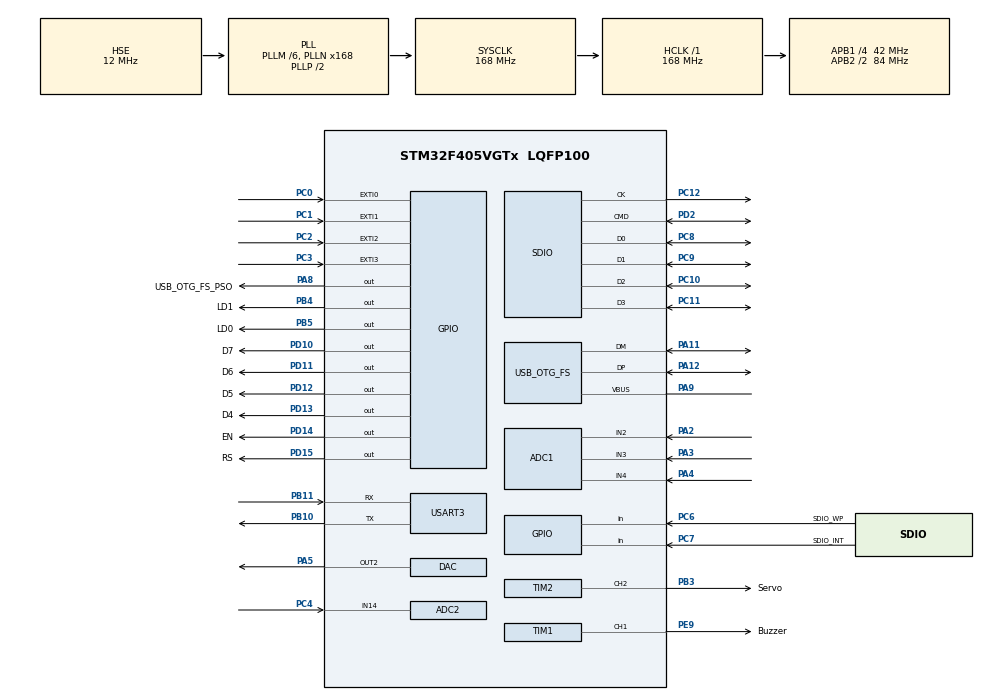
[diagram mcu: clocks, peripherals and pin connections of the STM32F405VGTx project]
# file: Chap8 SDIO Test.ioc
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ADC1.Channel-0\#ChannelRegularConversion=ADC_CHANNEL_2
ADC1.Channel-1\#ChannelRegularConversion=ADC_CHANNEL_3
ADC1.Channel-2\#ChannelRegularConversion=ADC_CHANNEL_4
ADC1.ClockPrescaler=ADC_CLOCK_SYNC_PCLK_DIV4
ADC1.ContinuousConvMode=ENABLE
ADC1.DMAContinuousRequests=ENABLE
ADC1.DiscontinuousConvMode=DISABLE
ADC1.EnableAnalogWatchDog=false
ADC1.InjNumberOfConversion=0
ADC1.NbrOfConversion=3
ADC1.NbrOfConversionFlag=1
ADC1.Rank-0\#ChannelRegularConversion=1
ADC1.Rank-1\#ChannelRegularConversion=2
ADC1.Rank-2\#ChannelRegularConversion=3
ADC1.SamplingTime-0\#ChannelRegularConversion=ADC_SAMPLETIME_84CYCLES
ADC1.SamplingTime-1\#ChannelRegularConversion=ADC_SAMPLETIME_84CYCLES
ADC1.SamplingTime-2\#ChannelRegularConversion=ADC_SAMPLETIME_84CYCLES
ADC1.ScanConvMode=ENABLE
ADC1.master=1
ADC2.Channel-1\#ChannelRegularConversion=ADC_CHANNEL_14
ADC2.ClockPrescaler=ADC_CLOCK_SYNC_PCLK_DIV4
ADC2.ContinuousConvMode=ENABLE
ADC2.DMAContinuousRequests=ENABLE
ADC2.NbrOfConversionFlag=1
ADC2.Rank-1\#ChannelRegularConversion=1
ADC2.SamplingTime-1\#ChannelRegularConversion=ADC_SAMPLETIME_84CYCLES
ADC2.ScanConvMode=DISABLE
Dma.ADC1.0.Direction=DMA_PERIPH_TO_MEMORY
Dma.ADC1.0.FIFOMode=DMA_FIFOMODE_DISABLE
Dma.ADC1.0.Instance=DMA2_Stream0
Dma.ADC1.0.MemDataAlignment=DMA_MDATAALIGN_HALFWORD
Dma.ADC1.0.MemInc=DMA_MINC_ENABLE
Dma.ADC1.0.Mode=DMA_CIRCULAR
Dma.ADC1.0.PeriphDataAlignment=DMA_PDATAALIGN_HALFWORD
Dma.ADC1.0.PeriphInc=DMA_PINC_DISABLE
Dma.ADC1.0.Priority=DMA_PRIORITY_LOW
Dma.ADC2.1.Direction=DMA_PERIPH_TO_MEMORY
Dma.ADC2.1.FIFOMode=DMA_FIFOMODE_DISABLE
Dma.ADC2.1.Instance=DMA2_Stream2
Dma.ADC2.1.MemDataAlignment=DMA_MDATAALIGN_HALFWORD
Dma.ADC2.1.MemInc=DMA_MINC_DISABLE
Dma.ADC2.1.Mode=DMA_CIRCULAR
Dma.ADC2.1.PeriphDataAlignment=DMA_PDATAALIGN_HALFWORD
Dma.ADC2.1.PeriphInc=DMA_PINC_DISABLE
Dma.ADC2.1.Priority=DMA_PRIORITY_LOW
Dma.Request0=ADC1
Dma.Request1=ADC2
Dma.Request2=SDIO_RX
Dma.Request3=SDIO_TX
Dma.SDIO_RX.2.Direction=DMA_PERIPH_TO_MEMORY
Dma.SDIO_RX.2.FIFOMode=DMA_FIFOMODE_ENABLE
Dma.SDIO_RX.2.FIFOThreshold=DMA_FIFO_THRESHOLD_FULL
Dma.SDIO_RX.2.Instance=DMA2_Stream3
Dma.SDIO_RX.2.MemBurst=DMA_MBURST_INC4
Dma.SDIO_RX.2.MemDataAlignment=DMA_MDATAALIGN_WORD
Dma.SDIO_RX.2.MemInc=DMA_MINC_ENABLE
Dma.SDIO_RX.2.Mode=DMA_PFCTRL
Dma.SDIO_RX.2.PeriphBurst=DMA_PBURST_INC4
Dma.SDIO_RX.2.PeriphDataAlignment=DMA_PDATAALIGN_WORD
Dma.SDIO_RX.2.PeriphInc=DMA_PINC_DISABLE
Dma.SDIO_RX.2.Priority=DMA_PRIORITY_LOW
Dma.SDIO_TX.3.Direction=DMA_MEMORY_TO_PERIPH
Dma.SDIO_TX.3.FIFOMode=DMA_FIFOMODE_ENABLE
Dma.SDIO_TX.3.FIFOThreshold=DMA_FIFO_THRESHOLD_FULL
Dma.SDIO_TX.3.Instance=DMA2_Stream6
Dma.SDIO_TX.3.MemBurst=DMA_MBURST_INC4
Dma.SDIO_TX.3.MemDataAlignment=DMA_MDATAALIGN_WORD
Dma.SDIO_TX.3.MemInc=DMA_MINC_ENABLE
Dma.SDIO_TX.3.Mode=DMA_PFCTRL
Dma.SDIO_TX.3.PeriphBurst=DMA_PBURST_INC4
Dma.SDIO_TX.3.PeriphDataAlignment=DMA_PDATAALIGN_WORD
Dma.SDIO_TX.3.PeriphInc=DMA_PINC_DISABLE
Dma.SDIO_TX.3.Priority=DMA_PRIORITY_LOW
FATFS.USE_DMA_CODE_SD=1
FATFS._MAX_SS=4096
FATFS._USE_LFN=1
Mcu.Family=STM32F4
Mcu.Name=STM32F405VGTx
Mcu.Package=LQFP100
NVIC.DMA2_Stream0_IRQn=true\:0\:0\:false\:false\:true\:false\:true\:true
NVIC.DMA2_Stream2_IRQn=true\:0\:0\:false\:false\:true\:false\:true\:true
NVIC.DMA2_Stream3_IRQn=true\:0\:0\:false\:false\:true\:false\:true\:true
NVIC.DMA2_Stream6_IRQn=true\:0\:0\:false\:false\:true\:false\:true\:true
NVIC.EXTI0_IRQn=true\:0\:0\:false\:true\:true\:1\:true\:true\:true
NVIC.EXTI1_IRQn=true\:0\:0\:false\:true\:true\:2\:true\:true\:true
NVIC.EXTI2_IRQn=true\:0\:0\:false\:true\:true\:3\:true\:true\:true
NVIC.EXTI3_IRQn=true\:0\:0\:false\:true\:true\:7\:true\:true\:true
NVIC.OTG_FS_IRQn=true\:0\:0\:false\:false\:true\:false\:true\:true
NVIC.PriorityGroup=NVIC_PRIORITYGROUP_4
NVIC.SDIO_IRQn=true\:0\:0\:false\:false\:true\:true\:true\:true
NVIC.TIM6_DAC_IRQn=true\:0\:0\:false\:true\:true\:5\:true\:true\:true
NVIC.TIM7_IRQn=true\:0\:0\:false\:true\:true\:6\:true\:true\:true
NVIC.USART3_IRQn=true\:0\:0\:false\:true\:true\:4\:true\:true\:true
PA11.Mode=Host_Only
PA11.Signal=USB_OTG_FS_DM
PA12.Mode=Host_Only
PA12.Signal=USB_OTG_FS_DP
PA2.Signal=ADCx_IN2
PA3.Signal=ADCx_IN3
PA4.Signal=ADCx_IN4
PA5.Signal=COMP_DAC2_group
PA8.GPIO_Label=USB_OTG_FS_PSO
PA8.Signal=GPIO_Output
PA9.Mode=Activate_VBUS
PA9.Signal=USB_OTG_FS_VBUS
PB10.Mode=Asynchronous
PB10.Signal=USART3_TX
PB11.Mode=Asynchronous
PB11.Signal=USART3_RX
PB3.GPIO_Label=Servo
PB3.Signal=S_TIM2_CH2
PB4.GPIO_Label=LD1
PB4.Signal=GPIO_Output
PB5.GPIO_Label=LD0
PB5.Signal=GPIO_Output
PC0.GPIO_ModeDefaultEXTI=GPIO_MODE_IT_FALLING
PC0.Signal=GPXTI0
PC1.GPIO_ModeDefaultEXTI=GPIO_MODE_IT_FALLING
PC1.Signal=GPXTI1
PC10.Mode=SD_4_bits_Wide_bus
PC10.Signal=SDIO_D2
PC11.Mode=SD_4_bits_Wide_bus
PC11.Signal=SDIO_D3
PC12.Mode=SD_4_bits_Wide_bus
PC12.Signal=SDIO_CK
PC2.GPIO_ModeDefaultEXTI=GPIO_MODE_IT_FALLING
PC2.Signal=GPXTI2
PC3.Signal=GPXTI3
PC4.Signal=ADCx_IN14
PC6.GPIO_Label=SDIO_WP
PC6.Signal=GPIO_Input
PC7.GPIO_Label=SDIO_INT
PC7.Signal=GPIO_Input
PC8.Mode=SD_4_bits_Wide_bus
PC8.Signal=SDIO_D0
PC9.Mode=SD_4_bits_Wide_bus
PC9.Signal=SDIO_D1
PD10.GPIO_Label=D7
PD10.Signal=GPIO_Output
PD11.GPIO_Label=D6
PD11.Signal=GPIO_Output
PD12.GPIO_Label=D5
PD12.Signal=GPIO_Output
PD13.GPIO_Label=D4
PD13.Signal=GPIO_Output
PD14.GPIO_Label=EN
PD14.Signal=GPIO_Output
PD15.GPIO_Label=RS
PD15.Signal=GPIO_Output
PD2.Mode=SD_4_bits_Wide_bus
PD2.Signal=SDIO_CMD
PE9.GPIO_Label=Buzzer
PE9.Signal=S_TIM1_CH1
PH0-OSC_IN.Mode=HSE-External-Oscillator
PH0-OSC_IN.Signal=RCC_OSC_IN
PH1-OSC_OUT.Mode=HSE-External-Oscillator
PH1-OSC_OUT.Signal=RCC_OSC_OUT
ProjectManager.HeapSize=0x200
ProjectManager.StackSize=0x400
ProjectManager.TargetToolchain=STM32CubeIDE
RCC.48MHZClocksFreq_Value=48000000
RCC.AHBFreq_Value=168000000
RCC.APB1CLKDivider=RCC_HCLK_DIV4
RCC.APB1Freq_Value=42000000
RCC.APB1TimFreq_Value=84000000
RCC.APB2CLKDivider=RCC_HCLK_DIV2
RCC.APB2Freq_Value=84000000
RCC.APB2TimFreq_Value=168000000
RCC.CortexFreq_Value=168000000
RCC.HCLKFreq_Value=168000000
RCC.HSE_VALUE=12000000
RCC.HSI_VALUE=16000000
RCC.LSE_VALUE=32768
RCC.PLLM=6
RCC.PLLN=168
RCC.PLLQ=7
RCC.SYSCLKFreq_VALUE=168000000
RCC.SYSCLKSource=RCC_SYSCLKSOURCE_PLLCLK
RCC.VCOOutputFreq_Value=336000000
SH.ADCx_IN14.0=ADC2_IN14,IN14
SH.ADCx_IN2.0=ADC1_IN2,IN2
SH.ADCx_IN3.0=ADC1_IN3,IN3
SH.ADCx_IN4.0=ADC1_IN4,IN4
SH.COMP_DAC2_group.0=DAC_OUT2,DAC_OUT2
SH.S_TIM1_CH1.0=TIM1_CH1,PWM Generation1 CH1
SH.S_TIM2_CH2.0=TIM2_CH2,PWM Generation2 CH2
TIM1.Channel-PWM\ Generation1\ CH1=TIM_CHANNEL_1
TIM1.Period=999
TIM1.Prescaler=167
TIM1.Pulse-PWM\ Generation1\ CH1=500
TIM2.Channel-PWM\ Generation2\ CH2=TIM_CHANNEL_2
TIM2.Period=10000-1
TIM2.Prescaler=168-1
TIM2.Pulse-PWM\ Generation2\ CH2=100
TIM4.Prescaler=83
TIM6.AutoReloadPreload=TIM_AUTORELOAD_PRELOAD_DISABLE
TIM6.Period=10000-1
TIM6.Prescaler=8400-1
TIM7.Period=9999
TIM7.Prescaler=4200-1
USART3.VirtualMode=VM_ASYNC
USB_HOST.USBH_HandleTypeDef-MSC_FS=hUsbHostFS
USB_HOST.VirtualModeFS=Msc
USB_OTG_FS.Sof_enable=DISABLE
USB_OTG_FS.VirtualMode=Host_Only
USB_OTG_FS.phy_itface=HCD_PHY_EMBEDDED
VP_FATFS_VS_SDIO.Mode=SDIO
VP_FATFS_VS_USB.Mode=USB
VP_TIM1_VS_ClockSourceINT.Mode=Internal
VP_TIM2_VS_ClockSourceINT.Mode=Internal
VP_TIM4_VS_ClockSourceINT.Mode=Internal
VP_TIM6_VS_ClockSourceINT.Mode=Enable_Timer
VP_TIM7_VS_ClockSourceINT.Mode=Enable_Timer
VP_USB_HOST_VS_USB_HOST_MSC_FS.Mode=MSC_FS
board=custom

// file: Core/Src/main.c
/* USER CODE BEGIN Header */
/**
  ******************************************************************************
  * @file           : main.c
  * @brief          : Main program body
  ******************************************************************************
  * @attention
  *
  * Copyright (c) 2025 STMicroelectronics.
  * All rights reserved.
  *
  * This software is licensed under terms that can be found in the LICENSE file
  * in the root directory of this software component.
  * If no LICENSE file comes with this software, it is provided AS-IS.
  *
  ******************************************************************************
  */
/* USER CODE END Header */
#include "main.h"
#include "adc.h"
#include "dac.h"
#include "dma.h"
#include "fatfs.h"
#include "sdio.h"
#include "tim.h"
#include "usart.h"
#include "usb_host.h"
#include "gpio.h"

/* USER CODE BEGIN Includes */
#include "stdio.h"
#include "string.h"
#include "CLCD.h"

/* USER CODE END Includes */

/* USER CODE BEGIN PM */
int _write(int file, char* p, int len){
	HAL_UART_Transmit(&huart3, p, len, 10);
	return len;
}

/* USER CODE END PM */

/* USER CODE BEGIN PV */
uint8_t rx_data = 0;
uint8_t lcd_flag = 0;

uint16_t adc1_val[3] = {0,};
uint16_t adc2_val = 0;

volatile uint8_t sw0_flag = 0;
volatile uint8_t sw1_flag = 0;
volatile uint8_t sw2_flag = 0;
volatile uint8_t sw3_flag = 0;

uint32_t bytesWritten, bytesRead;
extern ApplicationTypeDef Appli_state;

uint8_t str[21];

/* USER CODE END PV */

void SystemClock_Config(void);
static void MX_NVIC_Init(void);
void MX_USB_HOST_Process(void);

/* USER CODE BEGIN 0 */
long map(long x, long in_min, long in_max, long out_min, long out_max) {
  return (x - in_min) * (out_max - out_min) / (in_max - in_min) + out_min;
}

/* USER CODE END 0 */

int main(void)
{

  /* MCU Configuration--------------------------------------------------------*/

  /* Reset of all peripherals, Initializes the Flash interface and the Systick. */
  HAL_Init();

  /* Configure the system clock */
  SystemClock_Config();

  /* Initialize all configured peripherals */
  MX_GPIO_Init();
  MX_DMA_Init();
  MX_USART3_UART_Init();
  MX_TIM4_Init();
  MX_ADC1_Init();
  MX_DAC_Init();
  MX_ADC2_Init();
  MX_TIM1_Init();
  MX_TIM6_Init();
  MX_TIM7_Init();
  MX_TIM2_Init();
  MX_FATFS_Init();
  MX_USB_HOST_Init();
  MX_SDIO_SD_Init();

  /* Initialize interrupts */
  MX_NVIC_Init();
  /* USER CODE BEGIN 2 */
  HAL_TIM_Base_Start_IT(&htim6);
//  HAL_TIM_Base_Start_IT(&htim7);

  lcd_Init(4, 20);
  lcd_clear();

  BYTE buf[32] = "SDcard Write Test";
  uint32_t bw, br;

  // 1. SD "0" 드라이브 할당 시도
  if((retSD = f_mount(&SDFatFS, &SDPath[0], 1)) == FR_OK)
  {
	  sprintf(str, "f_mount OK %d", retSD);
	  lcd_setCurStr(0, 0, str);
  }
  else
  {
	  sprintf(str, "f_mount failed %d", retSD);
		  lcd_setCurStr(0, 0, str);
  }
  HAL_Delay(2000);
  lcd_clear();

  // 2 파일 생성 및 쓰기
    if((retSD = f_open(&SDFile, "0:/jmh8231.txt", FA_CREATE_NEW | FA_WRITE)) == FR_OK)
    {
//  	  sprintf(buf, "Hello world");
  	  f_write(&SDFile, buf, sizeof(buf), &bw);

  	  // bw로 써진 파일 사이즈가 반환됨
  	  sprintf(str, "%d bytes", bw);
  	  lcd_setCurStr(0, 0, str);

  	  f_close(&SDFile);
    }
    else
    {
  	  sprintf(str, "error %d\n", retSD);
  	  lcd_setCurStr(0, 0, str);
    }
    HAL_Delay(2000);
    lcd_clear();

    // 3 파일 읽기
    if((retSD = f_open(&SDFile, "0:/jmh8231.txt", FA_OPEN_EXISTING | FA_READ)) == FR_OK)
    {
  	  f_read(&SDFile, buf, 32, &br); // 32바이트를 읽어온다
  	  sprintf(str, "%s", buf);
  	  lcd_setCurStr(0, 0, str);

  	  sprintf(str, "%d bytes", br); // 실제로 몇 바이트가 읽혔는지 출력
  	  lcd_setCurStr(0, 1, str);
    }
    else
    {
  	  sprintf(str, "ERROR Code : %d", retSD);
  	  lcd_setCurStr(0, 0, str);
    }

//  lcd_clear();

  /* USER CODE END 2 */

  /* Infinite loop */
  while (1)
  {
    MX_USB_HOST_Process();

  }
}

void SystemClock_Config(void)
{
  RCC_OscInitTypeDef RCC_OscInitStruct = {0};
  RCC_ClkInitTypeDef RCC_ClkInitStruct = {0};

  /** Configure the main internal regulator output voltage
  */
  __HAL_RCC_PWR_CLK_ENABLE();
  __HAL_PWR_VOLTAGESCALING_CONFIG(PWR_REGULATOR_VOLTAGE_SCALE1);

  /** Initializes the RCC Oscillators according to the specified parameters
  * in the RCC_OscInitTypeDef structure.
  */
  RCC_OscInitStruct.OscillatorType = RCC_OSCILLATORTYPE_HSE;
  RCC_OscInitStruct.HSEState = RCC_HSE_ON;
  RCC_OscInitStruct.PLL.PLLState = RCC_PLL_ON;
  RCC_OscInitStruct.PLL.PLLSource = RCC_PLLSOURCE_HSE;
  RCC_OscInitStruct.PLL.PLLM = 6;
  RCC_OscInitStruct.PLL.PLLN = 168;
  RCC_OscInitStruct.PLL.PLLP = RCC_PLLP_DIV2;
  RCC_OscInitStruct.PLL.PLLQ = 7;
  if (HAL_RCC_OscConfig(&RCC_OscInitStruct) != HAL_OK)
  {
    Error_Handler();
  }

  /** Initializes the CPU, AHB and APB buses clocks
  */
  RCC_ClkInitStruct.ClockType = RCC_CLOCKTYPE_HCLK|RCC_CLOCKTYPE_SYSCLK
                              |RCC_CLOCKTYPE_PCLK1|RCC_CLOCKTYPE_PCLK2;
  RCC_ClkInitStruct.SYSCLKSource = RCC_SYSCLKSOURCE_PLLCLK;
  RCC_ClkInitStruct.AHBCLKDivider = RCC_SYSCLK_DIV1;
  RCC_ClkInitStruct.APB1CLKDivider = RCC_HCLK_DIV4;
  RCC_ClkInitStruct.APB2CLKDivider = RCC_HCLK_DIV2;

  if (HAL_RCC_ClockConfig(&RCC_ClkInitStruct, FLASH_LATENCY_5) != HAL_OK)
  {
    Error_Handler();
  }
}

/**
  * @brief NVIC Configuration.
  * @retval None
  */
static void MX_NVIC_Init(void)
{
  /* EXTI0_IRQn interrupt configuration */
  HAL_NVIC_SetPriority(EXTI0_IRQn, 0, 0);
  HAL_NVIC_EnableIRQ(EXTI0_IRQn);
  /* EXTI1_IRQn interrupt configuration */
  HAL_NVIC_SetPriority(EXTI1_IRQn, 0, 0);
  HAL_NVIC_EnableIRQ(EXTI1_IRQn);
  /* EXTI2_IRQn interrupt configuration */
  HAL_NVIC_SetPriority(EXTI2_IRQn, 0, 0);
  HAL_NVIC_EnableIRQ(EXTI2_IRQn);
  /* USART3_IRQn interrupt configuration */
  HAL_NVIC_SetPriority(USART3_IRQn, 0, 0);
  HAL_NVIC_EnableIRQ(USART3_IRQn);
  /* TIM6_DAC_IRQn interrupt configuration */
  HAL_NVIC_SetPriority(TIM6_DAC_IRQn, 0, 0);
  HAL_NVIC_EnableIRQ(TIM6_DAC_IRQn);
  /* TIM7_IRQn interrupt configuration */
  HAL_NVIC_SetPriority(TIM7_IRQn, 0, 0);
  HAL_NVIC_EnableIRQ(TIM7_IRQn);
  /* EXTI3_IRQn interrupt configuration */
  HAL_NVIC_SetPriority(EXTI3_IRQn, 0, 0);
  HAL_NVIC_EnableIRQ(EXTI3_IRQn);
}

/* USER CODE BEGIN 4 */
void HAL_GPIO_EXTI_Callback(uint16_t GPIO_Pin)
{
	if(GPIO_Pin == GPIO_PIN_0) {
		HAL_GPIO_TogglePin(LD0_GPIO_Port, LD0_Pin);
		sw0_flag = 1;
	}
	else if(GPIO_Pin == GPIO_PIN_1) {
		sw1_flag = 1;
		HAL_GPIO_TogglePin(LD0_GPIO_Port, LD0_Pin);

	}
	else if(GPIO_Pin == GPIO_PIN_2) {
		sw2_flag = 1;
		HAL_GPIO_TogglePin(LD0_GPIO_Port, LD0_Pin);
	}
	else if(GPIO_Pin == GPIO_PIN_3) {
		sw3_flag = 1;
		HAL_GPIO_TogglePin(LD0_GPIO_Port, LD0_Pin);
	}
}

void HAL_UART_RxCpltCallback(UART_HandleTypeDef *huart)
{
	if(huart->Instance == USART3) {
		HAL_UART_Receive_IT(&huart3, &rx_data, 1);
		HAL_UART_Transmit(&huart3, &rx_data, 1, 1000);
	}
}

void HAL_TIM_PeriodElapsedCallback(TIM_HandleTypeDef *htim)
{
	if(htim -> Instance == TIM6) {
		lcd_flag = 1;
	}
	if(htim -> Instance == TIM7) {

	}
}

/* USER CODE END 4 */

void Error_Handler(void)
{
  /* USER CODE BEGIN Error_Handler_Debug */
  /* User can add his own implementation to report the HAL error return state */
  __disable_irq();
  while (1)
  {
	  HAL_GPIO_TogglePin(LD1_GPIO_Port, LD1_Pin);
	  HAL_Delay(1000);
  }
  /* USER CODE END Error_Handler_Debug */
}
